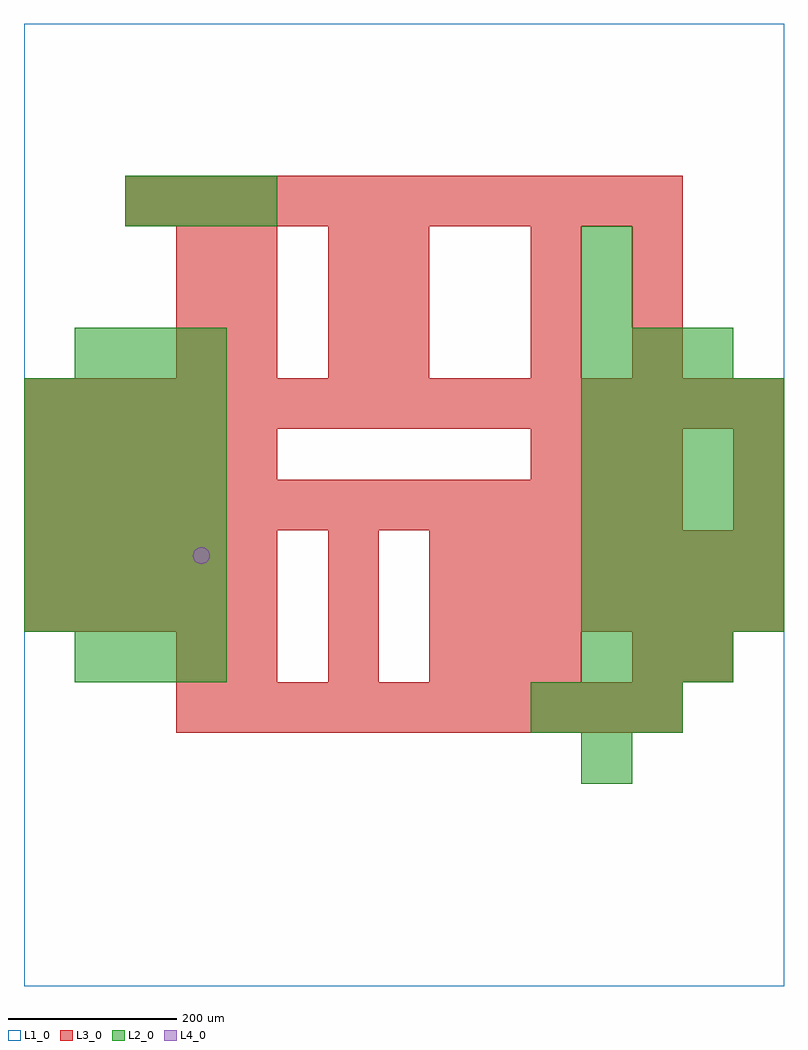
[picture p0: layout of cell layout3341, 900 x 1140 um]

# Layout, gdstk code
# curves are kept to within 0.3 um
import gdstk
lib = gdstk.Library(unit=1e-6, precision=1e-09)
def R(c, l, rs):  # rectangles x0, y0, x1, y1
    for r in rs: c.add(gdstk.rectangle(r[:2], r[2:], *l))
def A(c, l, x, y, w, h, nx, ny, dx, dy):  # array of equal rectangles
    R(c, l, [(x+i*dx, y+j*dy, x+i*dx+w, y+j*dy+h) for i in range(nx) for j in range(ny)])
def P(c, l, *ps):  # polygons
    for p in ps: c.add(gdstk.Polygon(p, *l))
L1_0 = (1, 0)
L2_0 = (2, 0)
L3_0 = (3, 0)
L4_0 = (4, 0)

layout3341 = lib.new_cell('layout3341')
R(layout3341, L1_0, [(0,0,900,1140)])
A(layout3341, L2_0, 600, 300, 60, 60, 3, 1, 60, 0)
A(layout3341, L2_0, 60, 360, 60, 60, 3, 2, 60, 360)
A(layout3341, L2_0, 660, 360, 60, 60, 3, 2, 60, 360)
A(layout3341, L2_0, 0, 420, 60, 60, 4, 5, 60, 60)
A(layout3341, L2_0, 660, 420, 60, 60, 4, 5, 60, 60)
A(layout3341, L2_0, 120, 900, 60, 60, 3, 1, 60, 0)
R(layout3341, L2_0, [(660,240,720,300), (660,780,720,840), (660,840,720,900)])
A(layout3341, L3_0, 180, 300, 60, 60, 10, 1, 60, 0)
A(layout3341, L3_0, 240, 360, 60, 60, 3, 1, 120, 0)
A(layout3341, L3_0, 0, 420, 60, 60, 5, 2, 60, 60)
A(layout3341, L3_0, 480, 420, 60, 60, 7, 2, 60, 60)
A(layout3341, L3_0, 0, 540, 60, 60, 13, 1, 60, 0)
A(layout3341, L3_0, 0, 600, 60, 60, 5, 1, 60, 0)
A(layout3341, L3_0, 600, 600, 60, 60, 3, 1, 60, 0)
A(layout3341, L3_0, 0, 660, 60, 60, 15, 1, 60, 0)
A(layout3341, L3_0, 180, 720, 60, 60, 1, 3, 0, 60)
A(layout3341, L3_0, 240, 720, 60, 60, 1, 3, 0, 60)
A(layout3341, L3_0, 360, 720, 60, 60, 1, 3, 0, 60)
A(layout3341, L3_0, 420, 720, 60, 60, 1, 3, 0, 60)
A(layout3341, L3_0, 600, 720, 60, 60, 1, 3, 0, 60)
A(layout3341, L3_0, 720, 720, 60, 60, 1, 3, 0, 60)
A(layout3341, L3_0, 120, 900, 60, 60, 11, 1, 60, 0)
R(layout3341, L3_0, [(180,360,240,420), (540,360,600,420), (600,360,660,420), (720,360,780,420), (780,360,840,420), (360,420,420,480), (360,480,420,540), (840,540,900,600), (840,600,900,660)])
P(layout3341, L4_0, [(220,510),(219.239,513.827),(217.071,517.071),(213.827,519.239),(210,520),(206.173,519.239),(202.929,517.071),(200.761,513.827),(200,510),(200.761,506.173),(202.929,502.929),(206.173,500.761),(210,500),(213.827,500.761),(217.071,502.929),(219.239,506.173)])

lib.write_gds('layout3341.gds')
